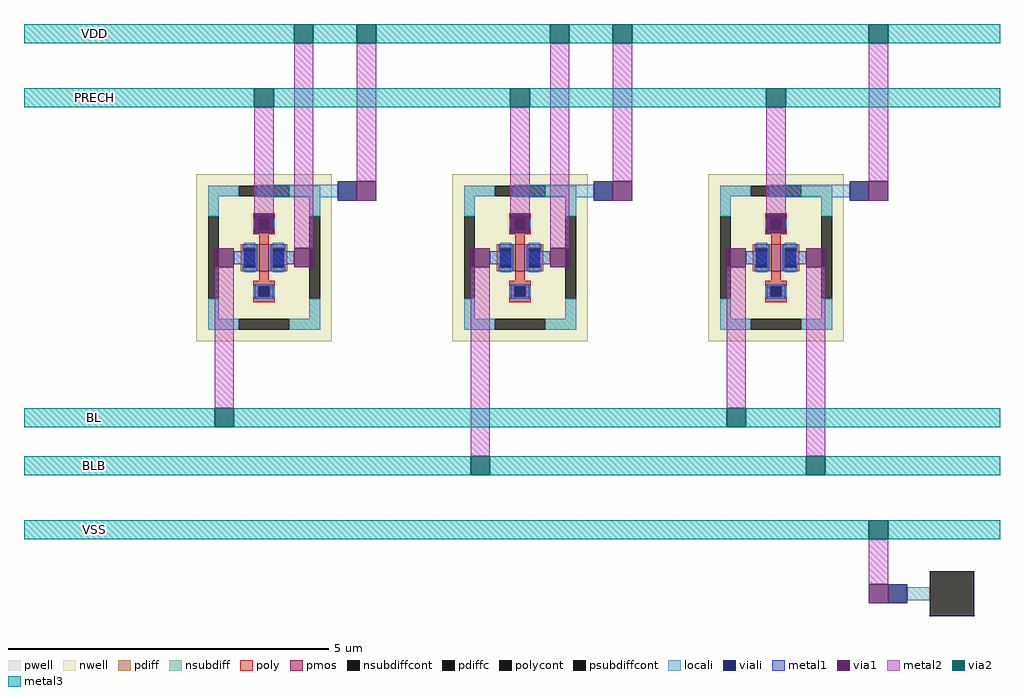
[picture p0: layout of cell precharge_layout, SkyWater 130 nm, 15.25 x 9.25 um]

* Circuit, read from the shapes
.subckt precharge_layout VDD BL BLB PRECH VSS
XM1 VDD PRECH BL VDD sky130_fd_pr__pfet_01v8 w=0.42 l=0.15
XM2 VDD PRECH BLB VDD sky130_fd_pr__pfet_01v8 w=0.42 l=0.15
XM3 BLB PRECH BL VDD sky130_fd_pr__pfet_01v8 w=0.42 l=0.15
.ends

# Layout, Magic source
magic
tech sky130A
magscale 1 2
<< pwell >>
rect 2380 -2120 2520 -1980
<< psubdiffcont >>
rect 2380 -2120 2520 -1980
<< locali >>
rect 280 -812 530 -772
rect 1080 -812 1330 -772
rect 1880 -812 2130 -772
rect 2310 -2070 2380 -2030
<< viali >>
rect 530 -822 590 -762
rect 1330 -822 1390 -762
rect 2130 -822 2190 -762
rect 2250 -2080 2310 -2020
<< metal1 >>
rect 206 -1020 276 -980
rect 324 -1020 394 -980
rect 1006 -1020 1076 -980
rect 1124 -1020 1194 -980
rect 1806 -1020 1876 -980
rect 1924 -1020 1994 -980
<< via1 >>
rect 590 -822 650 -762
rect 1390 -822 1450 -762
rect 2190 -822 2250 -762
rect 270 -924 330 -864
rect 1070 -924 1130 -864
rect 1870 -924 1930 -864
rect 146 -1030 206 -970
rect 394 -1030 454 -970
rect 946 -1030 1006 -970
rect 1194 -1030 1254 -970
rect 1746 -1030 1806 -970
rect 1994 -1030 2054 -970
rect 2190 -2080 2250 -2020
<< metal2 >>
rect 270 -864 330 -530
rect 394 -970 454 -330
rect 590 -762 650 -330
rect 1070 -864 1130 -530
rect 1194 -970 1254 -330
rect 1390 -762 1450 -330
rect 1870 -864 1930 -530
rect 2190 -762 2250 -330
rect 146 -1470 206 -1030
rect 946 -1620 1006 -1030
rect 1746 -1470 1806 -1030
rect 1994 -1620 2054 -1030
rect 2190 -2020 2250 -1880
<< via2 >>
rect 394 -330 454 -270
rect 270 -530 330 -470
rect 590 -330 650 -270
rect 1194 -330 1254 -270
rect 1070 -530 1130 -470
rect 1390 -330 1450 -270
rect 2190 -330 2250 -270
rect 1870 -530 1930 -470
rect 146 -1530 206 -1470
rect 1746 -1530 1806 -1470
rect 946 -1680 1006 -1620
rect 1994 -1680 2054 -1620
rect 2190 -1880 2250 -1820
<< metal3 >>
rect -450 -330 394 -270
rect 454 -330 590 -270
rect 650 -330 1194 -270
rect 1254 -330 1390 -270
rect 1450 -330 2190 -270
rect 2250 -330 2600 -270
rect -450 -530 270 -470
rect 330 -530 1070 -470
rect 1130 -530 1870 -470
rect 1930 -530 2600 -470
rect -450 -1530 146 -1470
rect 206 -1530 1746 -1470
rect 1806 -1530 2600 -1470
rect -450 -1680 946 -1620
rect 1006 -1680 1994 -1620
rect 2054 -1680 2600 -1620
rect -450 -1880 2190 -1820
rect 2250 -1880 2600 -1820
use sky130_fd_pr__pfet_01v8_RCZQRH  XMEQ
transform 1 0 1900 0 1 -1000
box -211 -261 211 261
use sky130_fd_pr__pfet_01v8_RCZQRH  XMPBL
transform 1 0 300 0 1 -1000
box -211 -261 211 261
use sky130_fd_pr__pfet_01v8_RCZQRH  XMPBLB
transform 1 0 1100 0 1 -1000
box -211 -261 211 261
<< labels >>
rlabel metal3 -255 -325 -205 -275 0 VDD
port 0 n
rlabel metal3 -255 -1525 -205 -1475 0 BL
port 1 n
rlabel metal3 -255 -1675 -205 -1625 0 BLB
port 2 n
rlabel metal3 -255 -525 -205 -475 0 PRECH
port 3 n
rlabel metal3 -255 -1875 -205 -1825 0 VSS
port 4 n
<< end >>

# cell sky130_fd_pr__pfet_01v8_RCZQRH: kit device sky130_fd_pr__pfet_01v8, w 0.42 l 0.15 m 1 nf 1 diffcov 100 polycov 100 guard 1 glc 1 grc 1 gtc 1 gbc 1 tbcov 100 rlcov 100 topc 1 botc 1 poverlap 0 doverlap 1 lmin 0.15 wmin 0.42 class mosfet compatible {sky130_fd_pr__pfet_01v8 sky130_fd_pr__pfet_01v8_lvt sky130_fd_pr__pfet_01v8_hvt sky130_fd_pr__pfet_g5v0d10v5} full_metal 1 viasrc 100 viadrn 100 viagate 100 viagb 0 viagr 0 viagl 0 viagt 0
